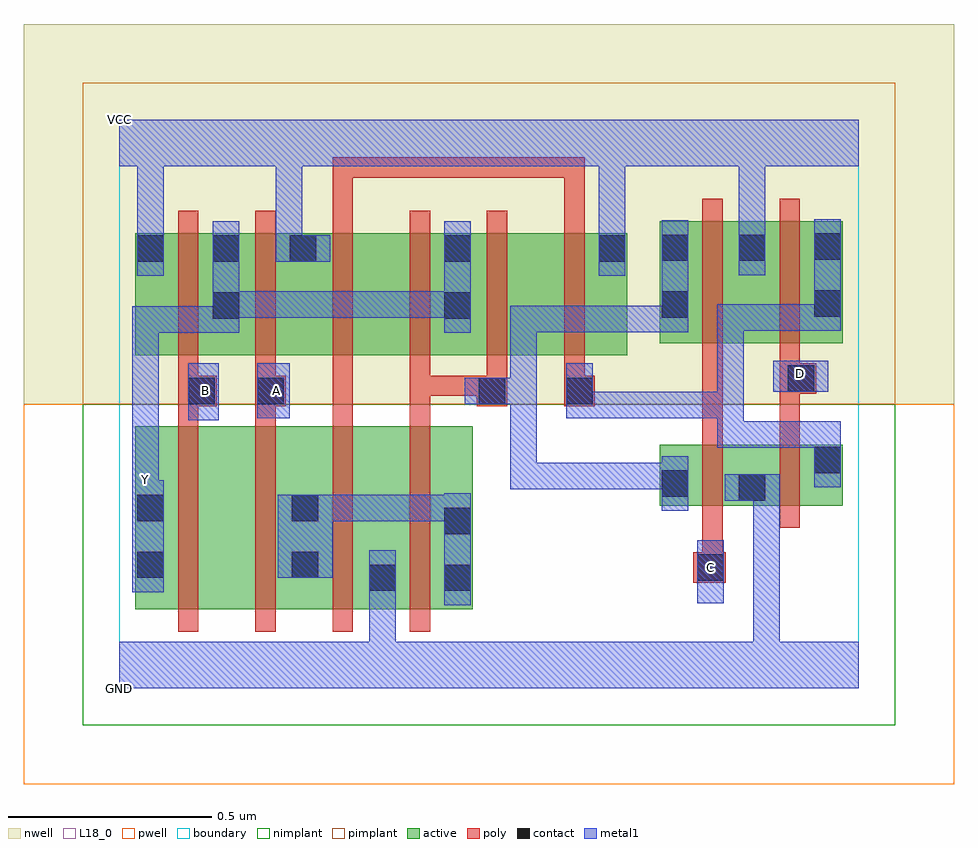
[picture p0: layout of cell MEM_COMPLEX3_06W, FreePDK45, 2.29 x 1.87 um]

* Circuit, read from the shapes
.subckt MEM_COMPLEX3_06W A B C D GND VCC Y
M1 n1 B Y VSUBS nfet w=0.45u l=0.05u
M2 n2 A n1 VSUBS nfet w=0.45u l=0.05u
M3 GND n3 n2 VSUBS nfet w=0.45u l=0.05u
M4 n2 n4 GND VSUBS nfet w=0.45u l=0.05u
M5 GND C n4 VSUBS nfet w=0.15u l=0.05u
M6 n3 D GND VSUBS nfet w=0.15u l=0.05u
M7 Y B VCC n5 pfet w=0.3u l=0.05u
M8 VCC A Y n5 pfet w=0.3u l=0.05u
M9 n6 n3 VCC n5 pfet w=0.3u l=0.05u
M10 Y n4 n6 n5 pfet w=0.3u l=0.05u
M11 n7 n4 Y n5 pfet w=0.3u l=0.05u
M12 VCC n3 n7 n5 pfet w=0.3u l=0.05u
M13 VCC C n4 n5 pfet w=0.3u l=0.05u
M14 n3 D VCC n5 pfet w=0.3u l=0.05u
.ends

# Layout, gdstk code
import gdstk
lib = gdstk.Library(unit=1e-6, precision=1e-09)
def R(c, l, rs):  # rectangles x0, y0, x1, y1
    for r in rs: c.add(gdstk.rectangle(r[:2], r[2:], *l))
def A(c, l, x, y, w, h, nx, ny, dx, dy):  # array of equal rectangles
    R(c, l, [(x+i*dx, y+j*dy, x+i*dx+w, y+j*dy+h) for i in range(nx) for j in range(ny)])
active = (1, 0)
pwell = (2, 0)
nwell = (3, 0)
nimplant = (4, 0)
pimplant = (5, 0)
poly = (9, 0)
contact = (10, 0)
metal1 = (11, 0)
L18_0 = (18, 0)
boundary = (235, 0)

mem_complex3_06w = lib.new_cell('MEM_COMPLEX3_06W')
R(mem_complex3_06w, active, [(0.04,0.195,0.265,0.645), (0.04,0.195,0.145,0.645), (0.265,0.195,0.495,0.645), (0.42,0.195,0.495,0.542), (0.42,0.195,0.685,0.645), (0.61,0.195,0.87,0.645), (0.61,0.195,0.685,0.542), (0.795,0.195,0.87,0.645), (1.33,0.45,1.405,0.6), (1.33,0.45,1.595,0.6), (1.52,0.45,1.78,0.6), (1.52,0.45,1.595,0.6), (1.705,0.495,1.78,0.6), (0.04,0.82,0.3,1.12), (0.04,0.82,0.115,1.12), (0.225,0.82,0.3,1.12), (0.225,0.82,0.49,1.12), (0.415,0.82,0.645,1.12), (0.645,0.82,0.87,1.12), (0.795,0.82,0.87,1.12), (0.795,0.82,1.025,1.12), (1.025,0.82,1.25,1.12), (1.175,0.82,1.25,1.12), (1.33,0.85,1.595,1.15), (1.33,0.85,1.405,1.122), (1.52,0.85,1.78,1.15), (1.52,0.85,1.595,1.15), (1.705,0.85,1.78,1.125), (0.415,0.852,0.49,1.12)])
R(mem_complex3_06w, pwell, [(-0.235,-0.235,2.055,0.7)])
R(mem_complex3_06w, nwell, [(-0.235,0.7,2.055,1.635)])
R(mem_complex3_06w, nimplant, [(-0.09,-0.09,1.91,0.7)])
R(mem_complex3_06w, pimplant, [(-0.09,0.7,1.91,1.49)])
A(mem_complex3_06w, poly, 0.145, 0.14, 0.05, 0.56, 4, 1, 0.19, 0)
A(mem_complex3_06w, poly, 0.145, 0.65, 0.05, 0.095, 3, 1, 0.19, 0)
A(mem_complex3_06w, poly, 0.715, 0.72, 0.05, 0.095, 3, 1, 0.19, 0)
A(mem_complex3_06w, poly, 0.145, 0.765, 0.05, 0.41, 6, 1, 0.19, 0)
R(mem_complex3_06w, poly, [(1.412,0.26,1.492,0.335), (1.435,0.285,1.485,0.445), (1.435,0.395,1.485,0.655), (1.625,0.395,1.675,0.655), (1.435,0.605,1.485,0.8), (1.625,0.605,1.675,0.775), (0.715,0.65,0.765,0.77), (0.145,0.695,0.24,0.77), (0.335,0.695,0.41,0.77), (0.525,0.695,0.575,0.745), (0.525,0.695,0.575,0.815), (0.88,0.695,0.955,0.77), (1.095,0.695,1.17,0.77), (0.145,0.72,0.195,0.815), (0.335,0.72,0.385,0.815), (0.715,0.72,0.765,0.77), (0.715,0.72,0.765,0.77), (0.715,0.72,0.765,0.77), (0.715,0.72,0.93,0.77), (1.625,0.725,1.715,0.8), (1.435,0.75,1.485,0.845), (1.435,0.75,1.485,0.8), (1.625,0.75,1.675,0.845), (1.435,0.795,1.485,1.205), (1.625,0.795,1.675,1.205), (0.525,1.125,0.575,1.307), (1.095,1.125,1.145,1.307), (0.525,1.257,0.575,1.307), (0.525,1.257,0.575,1.307), (0.525,1.257,0.575,1.307), (0.525,1.257,0.707,1.307), (0.657,1.257,0.707,1.307), (0.657,1.257,0.707,1.307), (0.657,1.257,0.707,1.307), (0.657,1.257,1.012,1.307), (0.962,1.257,1.012,1.307), (0.962,1.257,1.012,1.307), (0.962,1.257,1.012,1.307), (0.962,1.257,1.145,1.307), (1.095,1.257,1.145,1.307)])
A(mem_complex3_06w, contact, 0.42, 1.05, 0.065, 0.065, 3, 1, 0.38, 0)
R(mem_complex3_06w, contact, [(0.615,0.24,0.68,0.305), (0.8,0.24,0.865,0.305), (1.422,0.265,1.487,0.33), (0.045,0.272,0.11,0.337), (0.425,0.272,0.49,0.337), (0.8,0.38,0.865,0.445), (0.045,0.412,0.11,0.477), (0.425,0.412,0.49,0.477), (1.525,0.462,1.59,0.527), (1.335,0.472,1.4,0.537), (1.71,0.53,1.775,0.595), (0.17,0.7,0.235,0.765), (0.34,0.7,0.405,0.765), (0.885,0.7,0.95,0.765), (1.1,0.7,1.165,0.765), (1.645,0.73,1.71,0.795), (0.23,0.91,0.295,0.975), (0.8,0.91,0.865,0.975), (1.335,0.912,1.4,0.977), (1.71,0.915,1.775,0.98), (0.045,1.05,0.11,1.115), (0.23,1.05,0.295,1.115), (1.335,1.052,1.4,1.117), (1.525,1.052,1.59,1.117), (1.71,1.055,1.775,1.12)])
R(mem_complex3_06w, metal1, [(0,0,1.82,0.115), (0.615,0.05,0.68,0.115), (0.615,0.05,0.68,0.115), (0.615,0.05,0.68,0.27), (1.56,0.05,1.625,0.52), (0.615,0.205,0.68,0.34), (0.8,0.205,0.865,0.48), (1.422,0.21,1.487,0.365), (0.032,0.237,0.11,0.512), (0.39,0.272,0.525,0.477), (0.46,0.412,0.525,0.477), (0.46,0.412,0.525,0.477), (0.46,0.412,0.68,0.477), (0.615,0.412,0.68,0.477), (0.615,0.412,0.68,0.477), (0.615,0.412,0.68,0.477), (0.615,0.412,0.865,0.477), (1.335,0.437,1.4,0.572), (0.032,0.447,0.097,0.512), (0.032,0.447,0.097,0.582), (1.56,0.455,1.625,0.52), (1.56,0.455,1.625,0.52), (1.56,0.455,1.625,0.52), (1.56,0.455,1.625,0.52), (1.56,0.455,1.625,0.52), (1.56,0.455,1.625,0.527), (1.49,0.462,1.625,0.527), (0.962,0.49,1.027,0.555), (0.962,0.49,1.027,0.765), (0.962,0.49,1.167,0.555), (1.102,0.49,1.167,0.555), (1.102,0.49,1.167,0.555), (1.102,0.49,1.167,0.555), (1.102,0.49,1.4,0.555), (1.71,0.495,1.775,0.63), (0.032,0.517,0.097,0.94), (1.71,0.565,1.775,0.63), (1.71,0.565,1.775,0.657), (1.472,0.592,1.537,0.657), (1.472,0.592,1.775,0.657), (1.472,0.592,1.537,0.73), (0.17,0.66,0.245,0.8), (0.34,0.665,0.42,0.8), (1.1,0.665,1.165,0.8), (1.1,0.665,1.25,0.73), (1.185,0.665,1.25,0.73), (1.185,0.665,1.307,0.73), (1.242,0.665,1.307,0.73), (1.242,0.665,1.487,0.73), (1.422,0.665,1.487,0.73), (1.422,0.665,1.537,0.73), (1.472,0.665,1.537,0.73), (1.472,0.665,1.537,0.945), (0.85,0.7,0.985,0.765), (0.92,0.7,1.027,0.765), (0.962,0.7,1.027,0.765), (0.962,0.7,1.027,0.942), (1.61,0.73,1.745,0.807), (0.032,0.875,0.097,0.94), (0.032,0.875,0.097,0.94), (0.032,0.875,0.097,0.94), (0.032,0.875,0.295,0.94), (0.23,0.875,0.295,1.15), (0.8,0.875,0.865,1.15), (0.962,0.877,1.027,0.942), (0.962,0.877,1.122,0.942), (1.057,0.877,1.122,0.942), (1.057,0.877,1.165,0.942), (1.1,0.877,1.165,0.942), (1.1,0.877,1.4,0.942), (1.335,0.877,1.4,1.152), (1.472,0.88,1.537,0.945), (1.472,0.88,1.775,0.945), (1.71,0.88,1.775,0.945), (1.71,0.88,1.775,0.945), (1.71,0.88,1.775,1.155), (0.23,0.912,0.295,0.977), (0.23,0.912,0.295,0.977), (0.23,0.912,0.542,0.977), (0.477,0.912,0.542,0.977), (0.477,0.912,0.542,0.977), (0.477,0.912,0.542,0.977), (0.477,0.912,0.727,0.977), (0.662,0.912,0.727,0.977), (0.662,0.912,0.727,0.977), (0.662,0.912,0.727,0.977), (0.662,0.912,0.865,0.977), (0.045,1.015,0.11,1.15), (1.18,1.015,1.245,1.15), (1.525,1.017,1.59,1.152), (0.385,1.05,0.52,1.115), (0.385,1.05,0.45,1.35), (0.045,1.085,0.11,1.15), (0.045,1.085,0.11,1.15), (0.045,1.085,0.11,1.35), (1.18,1.085,1.245,1.15), (1.18,1.085,1.245,1.15), (1.18,1.085,1.245,1.35), (1.525,1.087,1.59,1.35), (0,1.285,1.82,1.4), (0.385,1.285,0.45,1.35), (0.385,1.285,0.45,1.35), (1.525,1.285,1.59,1.35), (1.525,1.285,1.59,1.35)])
R(mem_complex3_06w, L18_0, [(0,0,1.82,0.115), (0.615,0.05,0.68,0.115), (0.615,0.05,0.68,0.115), (0.615,0.05,0.68,0.27), (1.56,0.05,1.625,0.52), (0.615,0.205,0.68,0.34), (1.422,0.21,1.487,0.365), (0.032,0.237,0.11,0.512), (1.422,0.265,1.487,0.33), (0.032,0.447,0.097,0.582), (0.032,0.447,0.097,0.512), (1.56,0.455,1.625,0.52), (1.56,0.455,1.625,0.52), (1.56,0.455,1.625,0.52), (1.56,0.455,1.625,0.52), (1.56,0.455,1.625,0.52), (1.56,0.455,1.625,0.527), (1.49,0.462,1.625,0.527), (0.032,0.482,0.097,0.547), (0.032,0.517,0.097,0.94), (0.17,0.66,0.245,0.8), (0.34,0.665,0.42,0.8), (0.18,0.7,0.245,0.765), (0.355,0.7,0.42,0.765), (1.61,0.73,1.745,0.807), (1.645,0.742,1.71,0.807), (0.032,0.875,0.097,0.94), (0.032,0.875,0.097,0.94), (0.032,0.875,0.097,0.94), (0.032,0.875,0.295,0.94), (0.23,0.875,0.295,1.15), (0.8,0.875,0.865,1.15), (0.23,0.912,0.295,0.977), (0.23,0.912,0.295,0.977), (0.23,0.912,0.542,0.977), (0.477,0.912,0.542,0.977), (0.477,0.912,0.542,0.977), (0.477,0.912,0.542,0.977), (0.477,0.912,0.727,0.977), (0.662,0.912,0.727,0.977), (0.662,0.912,0.727,0.977), (0.662,0.912,0.727,0.977), (0.662,0.912,0.865,0.977), (0.045,1.015,0.11,1.15), (1.18,1.015,1.245,1.15), (1.525,1.017,1.59,1.152), (0.385,1.05,0.52,1.115), (0.385,1.05,0.45,1.35), (0.045,1.085,0.11,1.15), (0.045,1.085,0.11,1.15), (0.045,1.085,0.11,1.35), (1.18,1.085,1.245,1.15), (1.18,1.085,1.245,1.15), (1.18,1.085,1.245,1.35), (1.525,1.087,1.59,1.35), (0,1.285,1.82,1.4), (0.385,1.285,0.45,1.35), (0.385,1.285,0.45,1.35), (1.525,1.285,1.59,1.35), (1.525,1.285,1.59,1.35)])
R(mem_complex3_06w, boundary, [(0,0,1.82,1.4)])
mem_complex3_06w.add(gdstk.Label('A', (0.387,0.732), layer=11, texttype=0))
mem_complex3_06w.add(gdstk.Label('B', (0.212,0.732), layer=11, texttype=0))
mem_complex3_06w.add(gdstk.Label('C', (1.455,0.297), layer=11, texttype=0))
mem_complex3_06w.add(gdstk.Label('D', (1.677,0.775), layer=11, texttype=0))
mem_complex3_06w.add(gdstk.Label('Y', (0.065,0.515), layer=11, texttype=0))
mem_complex3_06w.add(gdstk.Label('VCC', (0,1.4), layer=11, texttype=0))
mem_complex3_06w.add(gdstk.Label('GND', (0,0), layer=11, texttype=0))

lib.write_gds('MEM_COMPLEX3_06W.gds')
